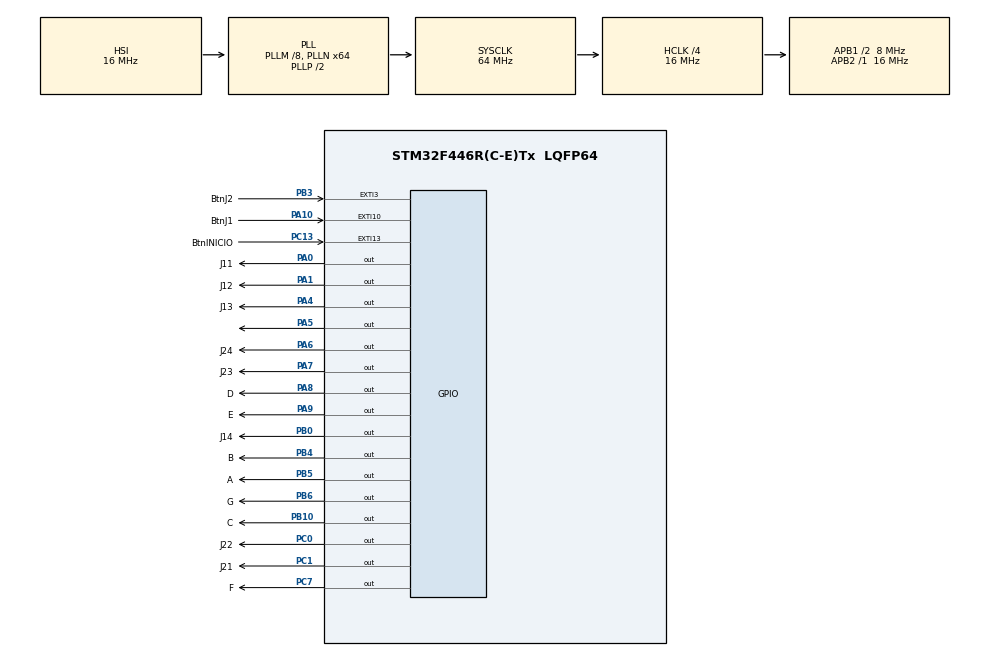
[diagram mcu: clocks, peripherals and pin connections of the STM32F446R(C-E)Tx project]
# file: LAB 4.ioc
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Mcu.Family=STM32F4
Mcu.Name=STM32F446R(C-E)Tx
Mcu.Package=LQFP64
NUCLEO-F446RE.BUTTON=1
NUCLEO-F446RE.LD1=true
NVIC.EXTI15_10_IRQn=true\:0\:0\:false\:false\:true\:false\:true\:true
NVIC.EXTI3_IRQn=true\:0\:0\:false\:false\:true\:true\:true\:true
NVIC.PriorityGroup=NVIC_PRIORITYGROUP_0
PA0-WKUP.GPIO_Label=J11
PA0-WKUP.Signal=GPIO_Output
PA1.GPIO_Label=J12
PA1.Signal=GPIO_Output
PA10.GPIO_Label=BtnJ1
PA10.GPIO_ModeDefaultEXTI=GPIO_MODE_IT_FALLING
PA10.GPIO_PuPd=GPIO_PULLUP
PA10.Signal=GPXTI10
PA13.GPIO_Label=TMS
PA13.Mode=Serial_Wire
PA13.Signal=SYS_JTMS-SWDIO
PA14.GPIO_Label=TCK
PA14.Mode=Serial_Wire
PA14.Signal=SYS_JTCK-SWCLK
PA2.GPIO_Label=USART_TX
PA2.Signal=USART2_TX
PA3.GPIO_Label=USART_RX
PA3.Signal=USART2_RX
PA4.GPIO_Label=J13
PA4.Signal=GPIO_Output
PA5.Signal=GPIO_Output
PA6.GPIO_Label=J24
PA6.Signal=GPIO_Output
PA7.GPIO_Label=J23
PA7.Signal=GPIO_Output
PA8.GPIO_Label=D
PA8.Signal=GPIO_Output
PA9.GPIO_Label=E
PA9.Signal=GPIO_Output
PB0.GPIO_Label=J14
PB0.Signal=GPIO_Output
PB10.GPIO_Label=C
PB10.Signal=GPIO_Output
PB3.GPIO_Label=BtnJ2
PB3.GPIO_ModeDefaultEXTI=GPIO_MODE_IT_FALLING
PB3.GPIO_PuPd=GPIO_PULLUP
PB3.Signal=GPXTI3
PB4.GPIO_Label=B
PB4.Signal=GPIO_Output
PB5.GPIO_Label=A
PB5.Signal=GPIO_Output
PB6.GPIO_Label=G
PB6.Signal=GPIO_Output
PC0.GPIO_Label=J22
PC0.Signal=GPIO_Output
PC1.GPIO_Label=J21
PC1.Signal=GPIO_Output
PC13.GPIO_Label=BtnINICIO
PC13.GPIO_ModeDefaultEXTI=GPIO_MODE_IT_FALLING
PC13.GPIO_PuPd=GPIO_PULLUP
PC13.Signal=GPXTI13
PC14-OSC32_IN.Signal=RCC_OSC32_IN
PC15-OSC32_OUT.Signal=RCC_OSC32_OUT
PC7.GPIO_Label=F
PC7.Signal=GPIO_Output
PH0-OSC_IN.Signal=RCC_OSC_IN
PH1-OSC_OUT.Signal=RCC_OSC_OUT
ProjectManager.HeapSize=0x200
ProjectManager.StackSize=0x400
ProjectManager.TargetToolchain=STM32CubeIDE
RCC.AHBCLKDivider=RCC_SYSCLK_DIV4
RCC.AHBFreq_Value=16000000
RCC.APB1CLKDivider=RCC_HCLK_DIV2
RCC.APB1Freq_Value=8000000
RCC.APB1TimFreq_Value=16000000
RCC.APB2Freq_Value=16000000
RCC.APB2TimFreq_Value=16000000
RCC.CortexFreq_Value=16000000
RCC.FLatency-AdvancedSettings=FLASH_LATENCY_0
RCC.HCLKFreq_Value=16000000
RCC.HSE_VALUE=8000000
RCC.HSI_VALUE=16000000
RCC.LSE_VALUE=32768
RCC.PLLM=8
RCC.PLLN=64
RCC.SYSCLKFreq_VALUE=64000000
RCC.SYSCLKSource=RCC_SYSCLKSOURCE_PLLCLK
RCC.USBFreq_Value=64000000
RCC.VCOOutputFreq_Value=128000000
VP_NUCLEO-F446RE_VS_BSP_COMMON.Mode=COMMON
board=NUCLEO-F446RE

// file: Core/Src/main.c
/* USER CODE BEGIN Header */
/**
  ******************************************************************************
  * @file           : main.c
  * @brief          : Main program body
  ******************************************************************************
  * @attention
  *
  * Copyright (c) 2026 STMicroelectronics.
  * All rights reserved.
  *
  ******************************************************************************
  */
/* USER CODE END Header */

#include "main.h"

/* USER CODE BEGIN PTD */

typedef enum
{
  Estado_Espera = 0,
  Estado_Cuenta_Regresiva,
  Estado_Carrera,
  Estado_Ganador

} Estado_Juego;

/* USER CODE END PTD */

/* USER CODE BEGIN PD */

#define Cuenta_Max       4
#define Antirrebote      150

/* USER CODE END PD */

/* USER CODE BEGIN PV */

// Estado actual del juego
volatile Estado_Juego estado_juego = Estado_Espera;

// Banderas activadas por las interrupciones
volatile uint8_t flag_inicio = 0;
volatile uint8_t flag_btnJ1 = 0;
volatile uint8_t flag_btnJ2 = 0;

// Variables antirrebote
volatile uint32_t ultimo_tick_inicio = 0;
volatile uint32_t ultimo_tick_J1 = 0;
volatile uint32_t ultimo_tick_J2 = 0;

// Contadores de los jugadores
uint8_t cuentaJ1 = 0;
uint8_t cuentaJ2 = 0;

/* USER CODE END PV */

void SystemClock_Config(void);
static void MX_GPIO_Init(void);

/* USER CODE BEGIN PFP */

void actz_LEDs_J1(uint8_t count);
void actz_LEDs_J2(uint8_t count);

void Display_Apagar(void);
void Display_Numero(uint8_t numero);

void Reset_Juego(void);

/* USER CODE END PFP */

int main(void)
{

  /* MCU Configuration--------------------------------------------------------*/

  /* Reset of all peripherals, Initializes the Flash interface and the Systick. */
  HAL_Init();

  /* Configure the system clock */
  SystemClock_Config();

  /* Initialize all configured peripherals */
  MX_GPIO_Init();

  /* USER CODE BEGIN 2 */

  // Iniciar con LEDs y display apagados
  Reset_Juego();

  /* USER CODE END 2 */

  /* Infinite loop */
  /* USER CODE BEGIN WHILE */

  while (1)
  {
    switch (estado_juego)
    {
      case Estado_Espera:

        // Esperar al boton de inicio
        if (flag_inicio)
        {
          flag_inicio = 0;

          // Reiniciar todo
          Reset_Juego();

          // Pasar a la cuenta regresiva
          estado_juego = Estado_Cuenta_Regresiva;
        }

        break;

      case Estado_Cuenta_Regresiva:

        // Bloquear botones
        flag_btnJ1 = 0;
        flag_btnJ2 = 0;

        // 5
        Display_Numero(5);
        HAL_Delay(1000);

        // Ignorar botones durante el conteo
        flag_btnJ1 = 0;
        flag_btnJ2 = 0;

        // Mostrar 4
        Display_Numero(4);
        HAL_Delay(1000);

        // Ignorar botones durante el conteo
        flag_btnJ1 = 0;
        flag_btnJ2 = 0;

        // Mostrar 3
        Display_Numero(3);
        HAL_Delay(1000);

        // Ignorar botones durante el conteo
        flag_btnJ1 = 0;
        flag_btnJ2 = 0;

        // Mostrar 2
        Display_Numero(2);
        HAL_Delay(1000);

        // Ignorar botones durante el conteo
        flag_btnJ1 = 0;
        flag_btnJ2 = 0;

        // Mostrar 1
        Display_Numero(1);
        HAL_Delay(1000);

        // Ignorar botones durante el conteo
        flag_btnJ1 = 0;
        flag_btnJ2 = 0;

        // Mostrar 0
        Display_Numero(0);
        HAL_Delay(1000);

        // Limpiar cualquier pulsacion realizada durante la cuenta regresiva
        flag_btnJ1 = 0;
        flag_btnJ2 = 0;

        // Apagar el display al comenzar la carrera
        Display_Apagar();

        // Habilitar la carrera
        estado_juego = Estado_Carrera;

        break;

      case Estado_Carrera:

        // Revisar boton J1
        if (flag_btnJ1)
        {
          flag_btnJ1 = 0;

          // Incrementar contador J1
          if (cuentaJ1 < Cuenta_Max)
          {
            cuentaJ1++;

            // Actualizar LEDs J1
            actz_LEDs_J1(cuentaJ1);
          }
        }

        // Revisar boton J2
        if (flag_btnJ2)
        {
          flag_btnJ2 = 0;

          // Incrementar contador J2
          if (cuentaJ2 < Cuenta_Max)
          {
            cuentaJ2++;

            // Actualizar LEDs J2
            actz_LEDs_J2(cuentaJ2);
          }
        }

        // Revisar si J1 gano
        if (cuentaJ1 >= Cuenta_Max)
        {
          // Asegurar los cuatro LEDs del ganador encendidos
          actz_LEDs_J1(Cuenta_Max);

          // Apagar todos los LEDs del jugador contrario
          actz_LEDs_J2(0);

          // Mostrar 1 en el display
          Display_Numero(1);

          // Limpiar pulsaciones pendientes
          flag_btnJ1 = 0;
          flag_btnJ2 = 0;

          // Finalizar la carrera
          estado_juego = Estado_Ganador;
        }

        // Revisar si J2 gano
        else if (cuentaJ2 >= Cuenta_Max)
        {
          // Asegurar los cuatro LEDs del ganador encendidos
          actz_LEDs_J2(Cuenta_Max);

          // Apagar todos los LEDs del jugador contrario
          actz_LEDs_J1(0);

          // Mostrar 2 en el display
          Display_Numero(2);

          // Limpiar pulsaciones pendientes
          flag_btnJ1 = 0;
          flag_btnJ2 = 0;

          // Fin
          estado_juego = Estado_Ganador;
        }

        break;

      case Estado_Ganador:

        // Ignorar cualquier pulsacion de los jugadores
        flag_btnJ1 = 0;
        flag_btnJ2 = 0;

        // Permitir iniciar una nueva carrera
        if (flag_inicio)
        {
          flag_inicio = 0;

          // Reiniciar LEDs, contadores y display
          Reset_Juego();

          // Volver a realizar la cuenta regresiva
          estado_juego = Estado_Cuenta_Regresiva;
        }

        break;

      default:

        // Recuperarse de un estado invalido
        Reset_Juego();
        estado_juego = Estado_Espera;

        break;
    }

    /* USER CODE END WHILE */

  }
}

void SystemClock_Config(void)
{
  RCC_OscInitTypeDef RCC_OscInitStruct = {0};
  RCC_ClkInitTypeDef RCC_ClkInitStruct = {0};

  /** Configure the main internal regulator output voltage
  */
  __HAL_RCC_PWR_CLK_ENABLE();

  __HAL_PWR_VOLTAGESCALING_CONFIG(PWR_REGULATOR_VOLTAGE_SCALE3);

  /** Initializes the RCC Oscillators according to the specified parameters
  * in the RCC_OscInitTypeDef structure.
  */
  RCC_OscInitStruct.OscillatorType = RCC_OSCILLATORTYPE_HSI;
  RCC_OscInitStruct.HSIState = RCC_HSI_ON;
  RCC_OscInitStruct.HSICalibrationValue = RCC_HSICALIBRATION_DEFAULT;
  RCC_OscInitStruct.PLL.PLLState = RCC_PLL_ON;
  RCC_OscInitStruct.PLL.PLLSource = RCC_PLLSOURCE_HSI;
  RCC_OscInitStruct.PLL.PLLM = 8;
  RCC_OscInitStruct.PLL.PLLN = 64;
  RCC_OscInitStruct.PLL.PLLP = RCC_PLLP_DIV2;
  RCC_OscInitStruct.PLL.PLLQ = 2;
  RCC_OscInitStruct.PLL.PLLR = 2;

  if (HAL_RCC_OscConfig(&RCC_OscInitStruct) != HAL_OK)
  {
    Error_Handler();
  }

  /** Initializes the CPU, AHB and APB buses clocks
  */
  RCC_ClkInitStruct.ClockType = RCC_CLOCKTYPE_HCLK |
                                RCC_CLOCKTYPE_SYSCLK |
                                RCC_CLOCKTYPE_PCLK1 |
                                RCC_CLOCKTYPE_PCLK2;

  RCC_ClkInitStruct.SYSCLKSource = RCC_SYSCLKSOURCE_PLLCLK;
  RCC_ClkInitStruct.AHBCLKDivider = RCC_SYSCLK_DIV4;
  RCC_ClkInitStruct.APB1CLKDivider = RCC_HCLK_DIV2;
  RCC_ClkInitStruct.APB2CLKDivider = RCC_HCLK_DIV1;

  if (HAL_RCC_ClockConfig(&RCC_ClkInitStruct, FLASH_LATENCY_0) != HAL_OK)
  {
    Error_Handler();
  }
}

static void MX_GPIO_Init(void)
{
  GPIO_InitTypeDef GPIO_InitStruct = {0};

  /* GPIO Ports Clock Enable */
  __HAL_RCC_GPIOC_CLK_ENABLE();
  __HAL_RCC_GPIOH_CLK_ENABLE();
  __HAL_RCC_GPIOA_CLK_ENABLE();
  __HAL_RCC_GPIOB_CLK_ENABLE();

  /*Configure GPIO pin Output Level */
  HAL_GPIO_WritePin(GPIOC, J22_Pin | J21_Pin | F_Pin, GPIO_PIN_RESET);

  /*Configure GPIO pin Output Level */
  HAL_GPIO_WritePin(GPIOA, J11_Pin | J12_Pin | J13_Pin | J24_Pin |
                           J23_Pin | D_Pin | E_Pin, GPIO_PIN_RESET);

  /*Configure GPIO pin Output Level */
  HAL_GPIO_WritePin(GPIOB, J14_Pin | C_Pin | B_Pin | A_Pin |
                           G_Pin, GPIO_PIN_RESET);

  /*Configure GPIO pin : BtnINICIO_Pin */
  GPIO_InitStruct.Pin = BtnINICIO_Pin;
  GPIO_InitStruct.Mode = GPIO_MODE_IT_FALLING;
  GPIO_InitStruct.Pull = GPIO_PULLUP;
  HAL_GPIO_Init(BtnINICIO_GPIO_Port, &GPIO_InitStruct);

  /*Configure GPIO pins : J22_Pin J21_Pin F_Pin */
  GPIO_InitStruct.Pin = J22_Pin | J21_Pin | F_Pin;
  GPIO_InitStruct.Mode = GPIO_MODE_OUTPUT_PP;
  GPIO_InitStruct.Pull = GPIO_NOPULL;
  GPIO_InitStruct.Speed = GPIO_SPEED_FREQ_LOW;
  HAL_GPIO_Init(GPIOC, &GPIO_InitStruct);

  /*Configure GPIO pins : J11_Pin J12_Pin J13_Pin J24_Pin
                           J23_Pin D_Pin E_Pin */
  GPIO_InitStruct.Pin = J11_Pin | J12_Pin | J13_Pin | J24_Pin |
                        J23_Pin | D_Pin | E_Pin;
  GPIO_InitStruct.Mode = GPIO_MODE_OUTPUT_PP;
  GPIO_InitStruct.Pull = GPIO_NOPULL;
  GPIO_InitStruct.Speed = GPIO_SPEED_FREQ_LOW;
  HAL_GPIO_Init(GPIOA, &GPIO_InitStruct);

  /*Configure GPIO pins : USART_TX_Pin USART_RX_Pin */
  GPIO_InitStruct.Pin = USART_TX_Pin | USART_RX_Pin;
  GPIO_InitStruct.Mode = GPIO_MODE_AF_PP;
  GPIO_InitStruct.Pull = GPIO_NOPULL;
  GPIO_InitStruct.Speed = GPIO_SPEED_FREQ_VERY_HIGH;
  GPIO_InitStruct.Alternate = GPIO_AF7_USART2;
  HAL_GPIO_Init(GPIOA, &GPIO_InitStruct);

  /*Configure GPIO pins : J14_Pin C_Pin B_Pin A_Pin
                           G_Pin */
  GPIO_InitStruct.Pin = J14_Pin | C_Pin | B_Pin | A_Pin |
                        G_Pin;
  GPIO_InitStruct.Mode = GPIO_MODE_OUTPUT_PP;
  GPIO_InitStruct.Pull = GPIO_NOPULL;
  GPIO_InitStruct.Speed = GPIO_SPEED_FREQ_LOW;
  HAL_GPIO_Init(GPIOB, &GPIO_InitStruct);

  /*Configure GPIO pin : BtnJ1_Pin */
  GPIO_InitStruct.Pin = BtnJ1_Pin;
  GPIO_InitStruct.Mode = GPIO_MODE_IT_FALLING;
  GPIO_InitStruct.Pull = GPIO_PULLUP;
  HAL_GPIO_Init(BtnJ1_GPIO_Port, &GPIO_InitStruct);

  /*Configure GPIO pin : BtnJ2_Pin */
  GPIO_InitStruct.Pin = BtnJ2_Pin;
  GPIO_InitStruct.Mode = GPIO_MODE_IT_FALLING;
  GPIO_InitStruct.Pull = GPIO_PULLUP;
  HAL_GPIO_Init(BtnJ2_GPIO_Port, &GPIO_InitStruct);

  /* EXTI interrupt init*/
  HAL_NVIC_SetPriority(EXTI3_IRQn, 0, 0);
  HAL_NVIC_EnableIRQ(EXTI3_IRQn);

  HAL_NVIC_SetPriority(EXTI15_10_IRQn, 0, 0);
  HAL_NVIC_EnableIRQ(EXTI15_10_IRQn);

}

/* USER CODE BEGIN 4 */

// Callback para interrupciones externas
void HAL_GPIO_EXTI_Callback(uint16_t GPIO_Pin)
{
  // Obtener el tiempo actual
  uint32_t now = HAL_GetTick();

  // Interrupcion del boton de inicio
  if (GPIO_Pin == BtnINICIO_Pin)
  {
    // Hacer el antirrebote
    if ((now - ultimo_tick_inicio) > Antirrebote)
    {
      ultimo_tick_inicio = now;
      flag_inicio = 1;
    }
  }

  // Interrupcion del boton J1
  else if (GPIO_Pin == BtnJ1_Pin)
  {
    // Hacer antirrebote
    if ((now - ultimo_tick_J1) > Antirrebote)
    {
      ultimo_tick_J1 = now;

      // Registrar la pulsacion solamente durante la carrera
      if (estado_juego == Estado_Carrera)
      {
        flag_btnJ1 = 1;
      }
    }
  }

  // Interrupcion del boton J2
  else if (GPIO_Pin == BtnJ2_Pin)
  {
    // Hacer antirrebote
    if ((now - ultimo_tick_J2) > Antirrebote)
    {
      ultimo_tick_J2 = now;

      // Registrar la pulsacion solamente durante la carrera
      if (estado_juego == Estado_Carrera)
      {
        flag_btnJ2 = 1;
      }
    }
  }
}

// Apagar todos los segmentos del display
void Display_Apagar(void)
{
  HAL_GPIO_WritePin(
      GPIOB,
      A_Pin | B_Pin | C_Pin | G_Pin,
      GPIO_PIN_RESET
  );

  HAL_GPIO_WritePin(
      GPIOA,
      D_Pin | E_Pin,
      GPIO_PIN_RESET
  );

  HAL_GPIO_WritePin(
      GPIOC,
      F_Pin,
      GPIO_PIN_RESET
  );
}

// Mostrar un numero del 0 al 5 en el display
void Display_Numero(uint8_t numero)
{
  // Apagar el display antes de mostrar el nuevo numero
  Display_Apagar();

  switch (numero)
  {
    case 0:

      // Segmentos A, B, C, D, E y F
      HAL_GPIO_WritePin(
          GPIOB,
          A_Pin | B_Pin | C_Pin,
          GPIO_PIN_SET
      );

      HAL_GPIO_WritePin(
          GPIOA,
          D_Pin | E_Pin,
          GPIO_PIN_SET
      );

      HAL_GPIO_WritePin(
          GPIOC,
          F_Pin,
          GPIO_PIN_SET
      );

      break;

    case 1:

      // Segmentos B y C
      HAL_GPIO_WritePin(
          GPIOB,
          B_Pin | C_Pin,
          GPIO_PIN_SET
      );

      break;

    case 2:

      // Segmentos A, B, D, E y G
      HAL_GPIO_WritePin(
          GPIOB,
          A_Pin | B_Pin | G_Pin,
          GPIO_PIN_SET
      );

      HAL_GPIO_WritePin(
          GPIOA,
          D_Pin | E_Pin,
          GPIO_PIN_SET
      );

      break;

    case 3:

      // Segmentos A, B, C, D y G
      HAL_GPIO_WritePin(
          GPIOB,
          A_Pin | B_Pin | C_Pin | G_Pin,
          GPIO_PIN_SET
      );

      HAL_GPIO_WritePin(
          GPIOA,
          D_Pin,
          GPIO_PIN_SET
      );

      break;

    case 4:

      // Segmentos B, C, F y G
      HAL_GPIO_WritePin(
          GPIOB,
          B_Pin | C_Pin | G_Pin,
          GPIO_PIN_SET
      );

      HAL_GPIO_WritePin(
          GPIOC,
          F_Pin,
          GPIO_PIN_SET
      );

      break;

    case 5:

      // Segmentos A, C, D, F y G
      HAL_GPIO_WritePin(
          GPIOB,
          A_Pin | C_Pin | G_Pin,
          GPIO_PIN_SET
      );

      HAL_GPIO_WritePin(
          GPIOA,
          D_Pin,
          GPIO_PIN_SET
      );

      HAL_GPIO_WritePin(
          GPIOC,
          F_Pin,
          GPIO_PIN_SET
      );

      break;

    default:

      // Apagar si se recibe un numero invalido
      Display_Apagar();

      break;
  }
}

// Actualizar los cuatro LEDs J1
void actz_LEDs_J1(uint8_t count)
{
  // LED 1
  HAL_GPIO_WritePin(
      GPIOA,
      J11_Pin,
      (count >= 1) ? GPIO_PIN_SET : GPIO_PIN_RESET
  );

  // LED 2
  HAL_GPIO_WritePin(
      GPIOA,
      J12_Pin,
      (count >= 2) ? GPIO_PIN_SET : GPIO_PIN_RESET
  );

  // LED 3
  HAL_GPIO_WritePin(
      GPIOA,
      J13_Pin,
      (count >= 3) ? GPIO_PIN_SET : GPIO_PIN_RESET
  );

  // LED 4
  HAL_GPIO_WritePin(
      GPIOB,
      J14_Pin,
      (count >= 4) ? GPIO_PIN_SET : GPIO_PIN_RESET
  );
}

// Actualizar los cuatro LEDs J2
void actz_LEDs_J2(uint8_t count)
{
  // LED 1
  HAL_GPIO_WritePin(
      GPIOC,
      J21_Pin,
      (count >= 1) ? GPIO_PIN_SET : GPIO_PIN_RESET
  );

  // LED 2
  HAL_GPIO_WritePin(
      GPIOC,
      J22_Pin,
      (count >= 2) ? GPIO_PIN_SET : GPIO_PIN_RESET
  );

  // LED 3
  HAL_GPIO_WritePin(
      GPIOA,
      J23_Pin,
      (count >= 3) ? GPIO_PIN_SET : GPIO_PIN_RESET
  );

  // LED 4
  HAL_GPIO_WritePin(
      GPIOA,
      J24_Pin,
      (count >= 4) ? GPIO_PIN_SET : GPIO_PIN_RESET
  );
}

// Reiniciar el juego
void Reset_Juego(void)
{
  // Reiniciar los contadores
  cuentaJ1 = 0;
  cuentaJ2 = 0;

  // Limpiar los flags de los jugadores
  flag_btnJ1 = 0;
  flag_btnJ2 = 0;

  // Apagar todos los LEDs
  actz_LEDs_J1(0);
  actz_LEDs_J2(0);

  // Apagar el display
  Display_Apagar();
}

/* USER CODE END 4 */

void Error_Handler(void)
{
  __disable_irq();
  while (1)
  {
  }
}
